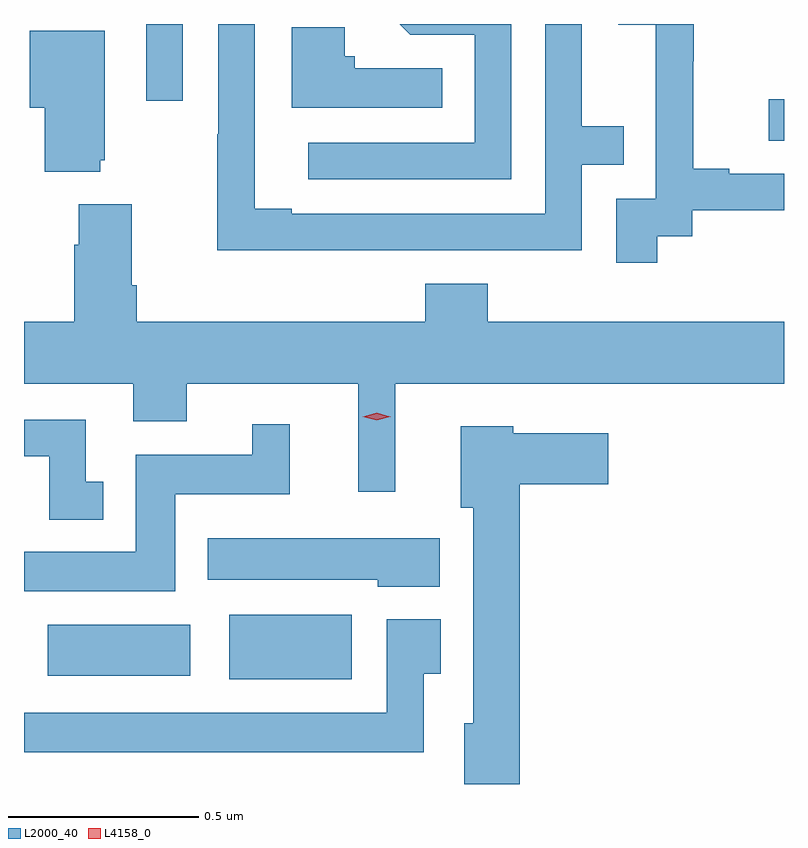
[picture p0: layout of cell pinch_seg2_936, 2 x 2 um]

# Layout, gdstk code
import gdstk
lib = gdstk.Library(unit=1e-6, precision=1e-09)
def R(c, l, rs):  # rectangles x0, y0, x1, y1
    for r in rs: c.add(gdstk.rectangle(r[:2], r[2:], *l))
def P(c, l, *ps):  # polygons
    for p in ps: c.add(gdstk.Polygon(p, *l))
L2000_40 = (2000, 40)
L4158_0 = (4158, 0)

pinch_seg2_936 = lib.new_cell('pinch_seg2_936')
R(pinch_seg2_936, L2000_40, [(414.485,657.515,414.808,657.685), (414.008,657.524,414.382,657.658), (415.905,658.932,415.945,659.041), (414.267,659.037,414.363,659.239)])
P(pinch_seg2_936, L2000_40, [(414.917,658.644),(415.413,658.644),(415.413,658.869),(415.523,658.869),(415.523,658.97),(415.413,658.97),(415.413,659.239),(415.317,659.239),(415.317,658.74),(414.649,658.74),(414.649,658.753),(414.552,658.753),(414.552,659.239),(414.456,659.239),(414.456,658.949),(414.454,658.949),(414.454,658.643),(414.917,658.643)],
  [(415.612,658.681),(415.704,658.681),(415.704,658.749),(415.945,658.749),(415.945,658.845),(415.801,658.845),(415.801,658.858),(415.706,658.858),(415.706,659.141),(415.707,659.141),(415.707,659.239),(415.509,659.239),(415.509,659.237),(415.607,659.237),(415.607,659.009),(415.608,659.009),(415.608,658.779),(415.503,658.779),(415.503,658.611),(415.612,658.611)],
  [(415.227,659.239),(414.934,659.239),(414.962,659.211),(415.131,659.211),(415.131,658.926),(414.693,658.926),(414.693,658.83),(415.227,658.83)],
  [(415.046,659.122),(414.816,659.122),(414.816,659.154),(414.789,659.154),(414.789,659.23),(414.65,659.23),(414.65,659.018),(415.046,659.018)],
  [(414.146,658.881),(414.157,658.881),(414.157,659.221),(413.96,659.221),(413.96,659.018),(413.999,659.018),(413.999,658.85),(414.146,658.85)],
  [(414.922,658.292),(415.945,658.292),(415.945,658.456),(415.166,658.456),(415.166,658.555),(415.001,658.555),(415.001,658.456),(414.242,658.456),(414.242,658.552),(414.229,658.552),(414.229,658.765),(414.089,658.765),(414.089,658.658),(414.077,658.658),(414.077,658.456),(413.945,658.456),(413.945,658.292),(414.233,658.292),(414.233,658.193),(414.373,658.193),(414.373,658.292),(414.824,658.292),(414.824,658.008),(414.922,658.008)],
  [(414.154,658.035),(414.108,658.035),(414.108,658.197),(413.945,658.197),(413.945,658.101),(414.012,658.101),(414.012,657.935),(414.154,657.935)],
  [(414.343,658.001),(414.644,658.001),(414.644,658.186),(414.545,658.186),(414.545,658.105),(414.239,658.105),(414.239,657.85),(413.945,657.85),(413.945,657.746),(414.343,657.746)],
  [(415.25,658.028),(415.483,658.028),(415.483,658.162),(415.233,658.162),(415.233,658.18),(415.094,658.18),(415.094,657.966),(415.127,657.966),(415.127,657.399),(415.103,657.399),(415.103,657.239),(415.25,657.239)],
  [(415.039,657.886),(414.428,657.886),(414.428,657.776),(414.876,657.776),(414.876,657.758),(415.039,657.758)],
  [(414.997,657.529),(415.042,657.529),(415.042,657.673),(414.9,657.673),(414.9,657.427),(413.945,657.427),(413.945,657.323),(414.997,657.323)])
P(pinch_seg2_936, L4158_0, [(414.873,658.196),(414.837,658.206),(414.837,658.206),(414.837,658.206),(414.873,658.216),(414.909,658.206),(414.91,658.206),(414.909,658.206)])

lib.write_gds('pinch_seg2_936.gds')
